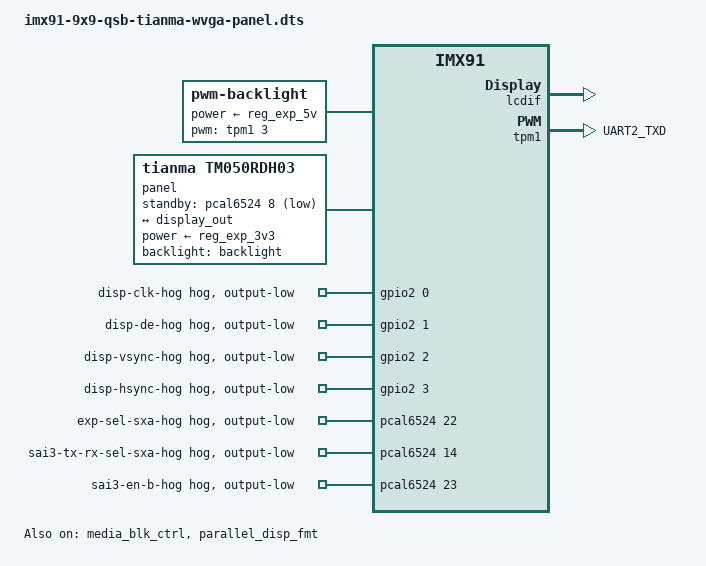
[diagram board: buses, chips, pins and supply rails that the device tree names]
// SPDX-License-Identifier: (GPL-2.0+ OR MIT)
/*
 * Copyright 2024 NXP
 */

#include <dt-bindings/gpio/gpio.h>
#include <dt-bindings/pwm/pwm.h>
#include "imx91-pinfunc.h"
#include "imx91-9x9-qsb.dts"

/ {
	backlight: backlight {
		compatible = "pwm-backlight";
		pwms = <&tpm1 3 40000 PWM_POLARITY_INVERTED>;	/* 25KHz PWM */
		brightness-levels = <0 100>;
		num-interpolated-steps = <100>;
		default-brightness-level = <80>;
		power-supply = <&reg_exp_5v>;
	};

	panel {
		compatible = "tianma,tm050rdh03";
		standby-gpios = <&pcal6524 8 GPIO_ACTIVE_LOW>;	/* STBYB(IOEXP_IO27) */
		backlight = <&backlight>;
		power-supply = <&reg_exp_3v3>;

		port {
			panel_in: endpoint {
				remote-endpoint = <&display_out>;
			};
		};
	};
};

&gpio2 {
	/* avoid power leakage */
	disp-clk-hog {
		gpio-hog;
		gpios = <0 GPIO_ACTIVE_HIGH>;
		output-low;
	};

	disp-de-hog {
		gpio-hog;
		gpios = <1 GPIO_ACTIVE_HIGH>;
		output-low;
	};

	disp-vsync-hog {
		gpio-hog;
		gpios = <2 GPIO_ACTIVE_HIGH>;
		output-low;
	};

	disp-hsync-hog {
		gpio-hog;
		gpios = <3 GPIO_ACTIVE_HIGH>;
		output-low;
	};
};

&iomuxc {
	pinctrl_tpm1_ch3: tpm1ch3grp {
		fsl,pins = <
			MX91_PAD_UART2_TXD__TPM1_CH3	0x31e
		>;
	};
};

&lcdif {
	assigned-clock-rates = <300000000>, <30000000>, <200000000>, <133333333>;
	status = "okay";
};

&media_blk_ctrl {
	status = "okay";
};

&parallel_disp_fmt {
	pinctrl-names = "default", "gpio";
	pinctrl-0 = <&pinctrl_lcdif>;
	pinctrl-1 = <&pinctrl_lcdif_gpio>;
	fsl,interface-pix-fmt = "rgb666";
	status = "okay";

	ports {
		port@1 {
			reg = <1>;

			display_out: endpoint {
				remote-endpoint = <&panel_in>;
			};
		};
	};
};

&pcal6524 {
	exp-sel-sxa-hog {
		gpio-hog;
		gpios = <22 GPIO_ACTIVE_HIGH>;
		output-low;
	};

	sai3-tx-rx-sel-sxa-hog {
		gpio-hog;
		gpios = <14 GPIO_ACTIVE_HIGH>;
		output-low;
	};

	sai3-en-b-hog {
		gpio-hog;
		gpios = <23 GPIO_ACTIVE_HIGH>;
		output-low;
	};
};

/* pin conflicts */
&sai3 {
	status = "disabled";
};

&tpm1 {
	pinctrl-names = "default";
	pinctrl-0 = <&pinctrl_tpm1_ch3>;
	status = "okay";
};
